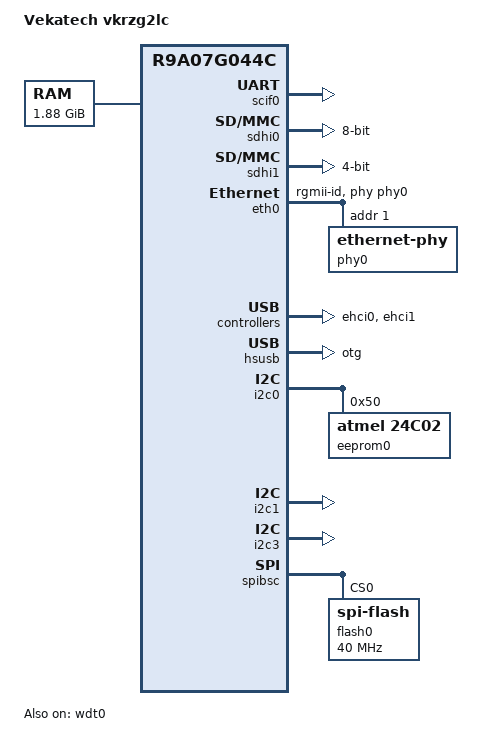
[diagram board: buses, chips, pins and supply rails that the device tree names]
// SPDX-License-Identifier: GPL-2.0
/*
 * Device Tree Source for the VK-RZG2LC board
 *
 */

/dts-v1/;
#include <dt-bindings/gpio/gpio.h>
#include "r9a07g044c.dtsi"
#include "r9a07g044c-u-boot.dtsi"
#include <dt-bindings/pinctrl/rzg2l-pinctrl.h>

/ {
        model = "Vekatech vkrzg2lc";
        compatible = "renesas,r9a07g044c", "renesas,rzg2lc";

        aliases {
                serial0 = &scif0;
                spi0 = &spibsc;
        };

        chosen {
                stdout-path = "serial0:115200n8";
        };

        memory@48000000 {
                device_type = "memory";
                /* first 128MB is reserved for secure area. */
                reg = <0 0x48000000 0 0x78000000>; 
                /*reg = <0 0x48000000 0 0x38000000>; */ 
        };

};

&pinctrl {
        eth0_pins: eth0 {
                pinmux = <RZG2L_PINMUX(28, 1, 1)>, /* ET0_LINKSTA */
                         <RZG2L_PINMUX(27, 1, 1)>, /* ET0_MDC */
                         <RZG2L_PINMUX(28, 0, 1)>, /* ET0_MDIO */
                         <RZG2L_PINMUX(20, 0, 1)>, /* ET0_TXC */
                         <RZG2L_PINMUX(20, 1, 1)>, /* ET0_TX_CTL */
                         <RZG2L_PINMUX(20, 2, 1)>, /* ET0_TXD0 */
                         <RZG2L_PINMUX(21, 0, 1)>, /* ET0_TXD1 */
                         <RZG2L_PINMUX(21, 1, 1)>, /* ET0_TXD2 */
                         <RZG2L_PINMUX(22, 0, 1)>, /* ET0_TXD3 */
                         <RZG2L_PINMUX(24, 0, 1)>, /* ET0_RXC */
                         <RZG2L_PINMUX(24, 1, 1)>, /* ET0_RX_CTL */
                         <RZG2L_PINMUX(25, 0, 1)>, /* ET0_RXD0 */
                         <RZG2L_PINMUX(25, 1, 1)>, /* ET0_RXD1 */
                         <RZG2L_PINMUX(26, 0, 1)>, /* ET0_RXD2 */
                         <RZG2L_PINMUX(26, 1, 1)>; /* ET0_RXD3 */
        };

        i2c3_pins: i2c3 {
                pinmux = <RZG2L_PINMUX(18, 0, 3)>,
                         <RZG2L_PINMUX(18, 1, 3)>;
        }; 
};

&xinclk {
        clock-frequency = <24000000>;
};

&scif0 {
        status = "okay";
        clock = <100000000>;
};

&sdhi0 {
        /* pinctrl placeholder
         * If this channel is used for interfacing with a SD card, a power enable
         * pin (SD0_PWR_EN) must be defined.
         * The SD0_PWR_EN pin is associated with P4_1.
         * A HIGH signal on SD0_PWR_EN will enable supply voltage for SD card.
        */
        bus-width = <8>;
        status = "okay";
};

&sdhi1 {
        /* pinctrl placeholder
         * A power enable pin (SD1_PWR_EN) must be defined to interface with a
         * SD card.
         * The SD1_PWR_EN pin is associated with P39_2.
         * A HIGH signal on SD1_PWR_EN will enable supply voltage for SD card.
        */
        bus-width = <4>;
        status = "okay";
};

&eth0 {
        pinctrl-names = "default";
        pinctrl-0 = <&eth0_pins>;
        phy-handle = <&phy0>;
        phy-mode = "rgmii-id";
        status = "okay";

        phy0: ethernet-phy@1 {
                reg = <1>;
        };
};

&ehci0 {
        status = "okay";
}; 

&ehci1 {
        status = "okay";
};

&hsusb {
	dr_mode = "otg";
	status = "okay";
};

&i2c0 {
        pinctrl-names = "default";
        status = "okay";

	eeprom0: eeprom@50 {
		compatible = "atmel,24c02";
		reg = <0x50>;
		pagesize = <16>;
	};
};

&i2c1 {
        pinctrl-names = "default";
        status = "okay";
};


&i2c3 {
        pinctrl-0 = <&i2c3_pins>;
        pinctrl-names = "default";
        status = "okay";
};

&spibsc {
        num-cs = <1>;
        status = "okay";
        spi-max-frequency = <40000000>;
        #address-cells = <1>;
        #size-cells = <0>;
        flash0: spi-flash@0 {
                #address-cells = <1>;
                #size-cells = <1>;
                compatible = "spi-flash", "jedec,spi-nor";
                spi-max-frequency = <40000000>;
                spi-tx-bus-width = <1>;
                spi-rx-bus-width = <1>;
                reg = <0>;
                status = "okay";
        };
};

&wdt0 {
        status = "okay";
        timeout-sec = <60>;
};
